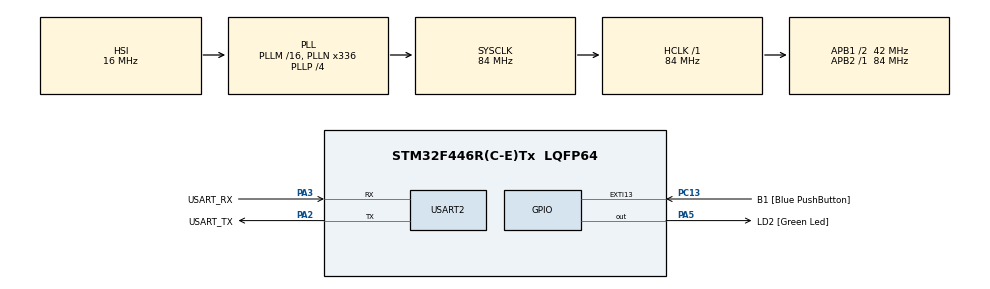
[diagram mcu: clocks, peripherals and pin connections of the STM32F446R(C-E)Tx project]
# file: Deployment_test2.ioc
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Mcu.Family=STM32F4
Mcu.Name=STM32F446R(C-E)Tx
Mcu.Package=LQFP64
NVIC.PriorityGroup=NVIC_PRIORITYGROUP_0
PA13.GPIO_Label=TMS
PA13.Mode=Serial_Wire
PA13.Signal=SYS_JTMS-SWDIO
PA14.GPIO_Label=TCK
PA14.Mode=Serial_Wire
PA14.Signal=SYS_JTCK-SWCLK
PA2.GPIO_Label=USART_TX
PA2.Mode=Asynchronous
PA2.Signal=USART2_TX
PA3.GPIO_Label=USART_RX
PA3.Mode=Asynchronous
PA3.Signal=USART2_RX
PA5.GPIO_Label=LD2 [Green Led]
PA5.Signal=GPIO_Output
PB3.GPIO_Label=SWO
PB3.Signal=SYS_JTDO-SWO
PC13.GPIO_Label=B1 [Blue PushButton]
PC13.GPIO_ModeDefaultEXTI=GPIO_MODE_IT_FALLING
PC13.Signal=GPXTI13
PC14-OSC32_IN.Mode=LSE-External-Oscillator
PC14-OSC32_IN.Signal=RCC_OSC32_IN
PC15-OSC32_OUT.Mode=LSE-External-Oscillator
PC15-OSC32_OUT.Signal=RCC_OSC32_OUT
PH0-OSC_IN.Mode=HSE-External-Oscillator
PH0-OSC_IN.Signal=RCC_OSC_IN
PH1-OSC_OUT.Mode=HSE-External-Oscillator
PH1-OSC_OUT.Signal=RCC_OSC_OUT
ProjectManager.HeapSize=0x200
ProjectManager.StackSize=0x400
ProjectManager.TargetToolchain=STM32CubeIDE
RCC.48MHZClocksFreq_Value=84000000
RCC.AHBFreq_Value=84000000
RCC.APB1CLKDivider=RCC_HCLK_DIV2
RCC.APB1Freq_Value=42000000
RCC.APB1TimFreq_Value=84000000
RCC.APB2Freq_Value=84000000
RCC.APB2TimFreq_Value=84000000
RCC.CortexFreq_Value=84000000
RCC.FLatency-AdvancedSettings=FLASH_LATENCY_2
RCC.HCLKFreq_Value=84000000
RCC.HSE_VALUE=8000000
RCC.HSI_VALUE=16000000
RCC.PLLN=336
RCC.PLLP=RCC_PLLP_DIV4
RCC.SYSCLKFreq_VALUE=84000000
RCC.SYSCLKSource=RCC_SYSCLKSOURCE_PLLCLK
RCC.USBFreq_Value=168000000
RCC.VCOOutputFreq_Value=336000000
USART2.VirtualMode=VM_ASYNC
board=NUCLEO-F446RE

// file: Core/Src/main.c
/* USER CODE BEGIN Header */
/**
  ******************************************************************************
  * @file           : main.c
  * @brief          : Main program body
  ******************************************************************************
  * @attention
  *
  * Copyright (c) 2023 STMicroelectronics.
  * All rights reserved.
  *
  * This software is licensed under terms that can be found in the LICENSE file
  * in the root directory of this software component.
  * If no LICENSE file comes with this software, it is provided AS-IS.
  *
  ******************************************************************************
  */
/* USER CODE END Header */
#include "main.h"
#include "usart.h"
#include "gpio.h"

#include <float.h>

//#include "../Inc/emlearn/model.h"
#include "../Inc/emlearn/model_2.h"

void SystemClock_Config(void);

int main(void)
{

  /* MCU Configuration--------------------------------------------------------*/

  /* Reset of all peripherals, Initializes the Flash interface and the Systick. */
  HAL_Init();

  /* Configure the system clock */
  SystemClock_Config();

  /* Initialize all configured peripherals */
  MX_GPIO_Init();
  MX_USART2_UART_Init();

  /* Infinite loop */
  /* USER CODE BEGIN WHILE */
  int32_t Data[250] = {0   , 0  , 0  , 0  , 96 , 94 , 0  , 3  , 5   , 20  ,
  							0   , 0  , 5  , 0  , 0  , 8  , 0  , 0  , 0   , 0   ,
  							0   , 0  , 28 , 0  , 0  , 0  , 13 , 0  , 43  , 1023,
  							0   , 0  , 0  , 0  , 0  , 0  , 224, 11 , 0   , 0   ,
  							0   , 0  , 232, 411, 0  , 0  , 0  , 0  , 0   , 3   ,
  							0   , 0  , 9  , 0  , 0  , 0  , 0  , 0  , 0   , 0   ,
  							0   , 0  , 0  , 0  , 0  , 0  , 0  , 0  , 1   , 0   ,
  							447 , 343, 0  , 0  , 0  , 182, 27 , 24 , 577 , 0   ,
  							0   , 8  , 488, 8  , 0  , 10 , 0  , 0  , 0   , 64  ,
  							0   , 0  , 0  , 0  , 0  , 0  , 0  , 0  , 0   , 0   ,
  							0   , 0  , 88 , 0  , 0  , 0  , 34 , 0  , 0   , 0   ,
  							0   , 452, 0  , 769, 0  , 0  , 0  , 0  , 11  , 0   ,
  							1023, 0  , 0  , 13 , 19 , 0  , 36 , 172, 0   , 1023,
  							0   , 0  , 0  , 0  , 437, 0  , 0  , 0  , 0   , 0   ,
  							99  , 183, 0  , 0  , 0  , 0  , 300, 0  , 0   , 0   ,
  							0   , 0  , 0  , 0  ,32  , 0  , 0  , 0  , 0   , 156 ,
  							139 , 0  , 0  , 0  , 0  , 0  , 0  , 0  , 1023, 11  ,
  							0   , 0  , 9  , 0  , 0  , 0  , 0  , 0  , 30  , 188 ,
  							33  , 75 , 0  , 13 , 0  , 0  , 0  , 0  , 0   , 35  ,
  							233 , 0  , 0  , 0  , 0  , 0  , 0  , 0  , 0   , 1   ,
  							0   , 138, 0  , 0  , 0  , 0  , 0  , 0  , 0   , 0   ,
  							0   , 606, 197, 76 , 0  , 104, 0  , 232, 24  , 0   ,
  							1023, 132, 0  , 0  , 0  , 0  , 0  , 0  , 0   , 14  ,
  							0   , 0  , 0  , 0  , 89 , 7  , 0  , 32 , 0   , 72  ,
  							227 , 12 , 0  , 0  , 0  , 9  , 640, 58 , 0   , 0   };

  int mevements = 2;
  int move_pred[2] = {100,100};

  float feat1[6] = {166.765579,	27810.758297,	49.856	,124,	83	,22272};
  float feat2[6] = {135.014401	,18228.888498	,47.916	,131	,90,	15828};

  float error1 = eml_net_predict_proba(&model_2,&feat1[0],6,&move_pred[0],2);

  float class1 = eml_net_predict(&model_2,&feat1[0],6);

  float error2 = eml_net_predict_proba(&model_2,&feat2[0],6,&move_pred[0],2);

  float class2 = eml_net_predict(&model_2,&feat2[0],6);

  while (1)
  {
    /* USER CODE END WHILE */

  }
}

void SystemClock_Config(void)
{
  RCC_OscInitTypeDef RCC_OscInitStruct = {0};
  RCC_ClkInitTypeDef RCC_ClkInitStruct = {0};

  /** Configure the main internal regulator output voltage
  */
  __HAL_RCC_PWR_CLK_ENABLE();
  __HAL_PWR_VOLTAGESCALING_CONFIG(PWR_REGULATOR_VOLTAGE_SCALE3);

  /** Initializes the RCC Oscillators according to the specified parameters
  * in the RCC_OscInitTypeDef structure.
  */
  RCC_OscInitStruct.OscillatorType = RCC_OSCILLATORTYPE_HSI;
  RCC_OscInitStruct.HSIState = RCC_HSI_ON;
  RCC_OscInitStruct.HSICalibrationValue = RCC_HSICALIBRATION_DEFAULT;
  RCC_OscInitStruct.PLL.PLLState = RCC_PLL_ON;
  RCC_OscInitStruct.PLL.PLLSource = RCC_PLLSOURCE_HSI;
  RCC_OscInitStruct.PLL.PLLM = 16;
  RCC_OscInitStruct.PLL.PLLN = 336;
  RCC_OscInitStruct.PLL.PLLP = RCC_PLLP_DIV4;
  RCC_OscInitStruct.PLL.PLLQ = 2;
  RCC_OscInitStruct.PLL.PLLR = 2;
  if (HAL_RCC_OscConfig(&RCC_OscInitStruct) != HAL_OK)
  {
    Error_Handler();
  }

  /** Initializes the CPU, AHB and APB buses clocks
  */
  RCC_ClkInitStruct.ClockType = RCC_CLOCKTYPE_HCLK|RCC_CLOCKTYPE_SYSCLK
                              |RCC_CLOCKTYPE_PCLK1|RCC_CLOCKTYPE_PCLK2;
  RCC_ClkInitStruct.SYSCLKSource = RCC_SYSCLKSOURCE_PLLCLK;
  RCC_ClkInitStruct.AHBCLKDivider = RCC_SYSCLK_DIV1;
  RCC_ClkInitStruct.APB1CLKDivider = RCC_HCLK_DIV2;
  RCC_ClkInitStruct.APB2CLKDivider = RCC_HCLK_DIV1;

  if (HAL_RCC_ClockConfig(&RCC_ClkInitStruct, FLASH_LATENCY_2) != HAL_OK)
  {
    Error_Handler();
  }
}

void Error_Handler(void)
{
  __disable_irq();
  while (1)
  {
  }
}
